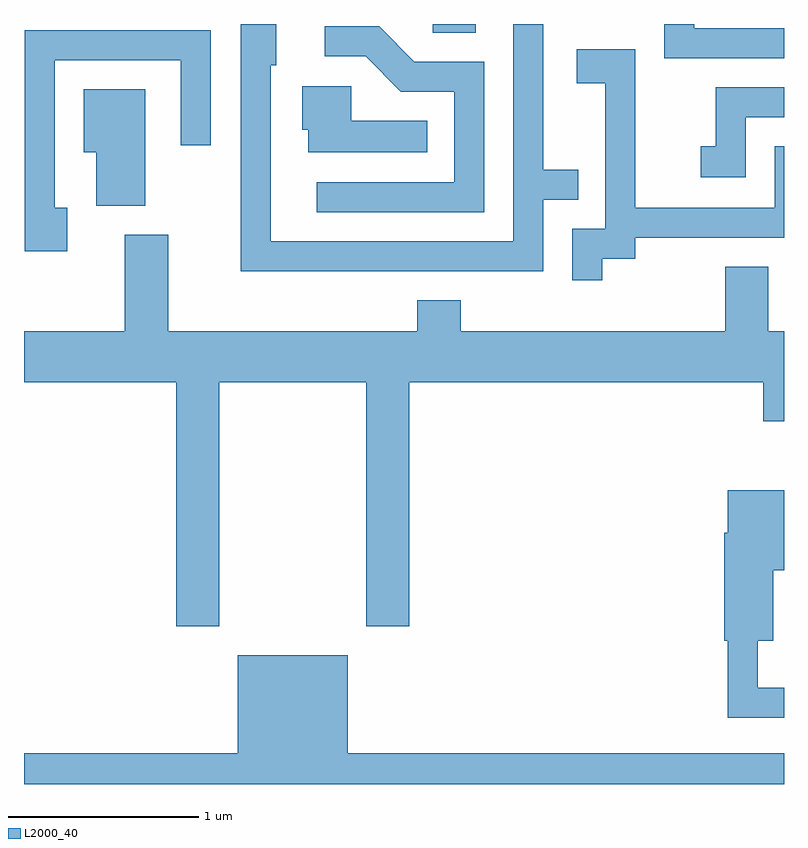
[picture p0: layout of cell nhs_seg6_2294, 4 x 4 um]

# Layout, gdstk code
import gdstk
lib = gdstk.Library(unit=1e-6, precision=1e-09)
def R(c, l, rs):  # rectangles x0, y0, x1, y1
    for r in rs: c.add(gdstk.rectangle(r[:2], r[2:], *l))
def P(c, l, *ps):  # polygons
    for p in ps: c.add(gdstk.Polygon(p, *l))
L2000_40 = (2000, 40)

nhs_seg6_2294 = lib.new_cell('nhs_seg6_2294')
R(nhs_seg6_2294, L2000_40, [(257.761,1534.116,257.989,1534.162)])
P(nhs_seg6_2294, L2000_40, [(259.611,1534.139),(259.139,1534.139),(259.139,1534.162),(258.981,1534.162),(258.981,1533.981),(259.611,1533.981)],
  [(258.344,1533.236),(258.528,1533.236),(258.528,1533.394),(258.344,1533.394),(258.344,1534.162),(258.186,1534.162),(258.186,1533.019),(256.909,1533.019),(256.909,1533.946),(256.939,1533.946),(256.939,1534.162),(256.751,1534.162),(256.751,1532.861),(258.344,1532.861)],
  [(258.034,1533.964),(257.666,1533.964),(257.481,1534.149),(257.193,1534.149),(257.193,1533.991),(257.409,1533.991),(257.594,1533.806),(257.876,1533.806),(257.876,1533.329),(257.153,1533.329),(257.153,1533.171),(258.034,1533.171)],
  [(255.839,1533.194),(255.774,1533.194),(255.774,1533.971),(256.436,1533.971),(256.436,1533.523),(256.594,1533.523),(256.594,1534.129),(255.616,1534.129),(255.616,1532.966),(255.839,1532.966)],
  [(258.654,1532.926),(258.829,1532.926),(258.829,1533.036),(259.611,1533.036),(259.611,1533.519),(259.561,1533.519),(259.561,1533.194),(258.829,1533.194),(258.829,1534.029),(258.521,1534.029),(258.521,1533.851),(258.671,1533.851),(258.671,1533.084),(258.496,1533.084),(258.496,1532.813),(258.654,1532.813)],
  [(257.733,1533.654),(257.334,1533.654),(257.334,1533.834),(257.076,1533.834),(257.076,1533.606),(257.106,1533.606),(257.106,1533.486),(257.733,1533.486)],
  [(259.409,1533.671),(259.611,1533.671),(259.611,1533.829),(259.251,1533.829),(259.251,1533.519),(259.173,1533.519),(259.173,1533.356),(259.409,1533.356)],
  [(256.249,1533.819),(255.926,1533.819),(255.926,1533.486),(255.991,1533.486),(255.991,1533.206),(256.249,1533.206)],
  [(256.639,1532.276),(257.411,1532.276),(257.411,1530.991),(257.639,1530.991),(257.639,1532.276),(259.501,1532.276),(259.501,1532.071),(259.611,1532.071),(259.611,1532.544),(259.529,1532.544),(259.529,1532.884),(259.301,1532.884),(259.301,1532.544),(257.909,1532.544),(257.909,1532.709),(257.681,1532.709),(257.681,1532.544),(256.369,1532.544),(256.369,1533.054),(256.141,1533.054),(256.141,1532.544),(255.611,1532.544),(255.611,1532.276),(256.411,1532.276),(256.411,1530.991),(256.639,1530.991)],
  [(259.611,1530.669),(259.474,1530.669),(259.474,1530.916),(259.554,1530.916),(259.554,1531.286),(259.611,1531.286),(259.611,1531.709),(259.316,1531.709),(259.316,1531.484),(259.296,1531.484),(259.296,1530.916),(259.316,1530.916),(259.316,1530.511),(259.611,1530.511)],
  [(259.611,1530.324),(257.314,1530.324),(257.314,1530.839),(256.736,1530.839),(256.736,1530.324),(255.611,1530.324),(255.611,1530.162),(259.611,1530.162)])

lib.write_gds('nhs_seg6_2294.gds')
